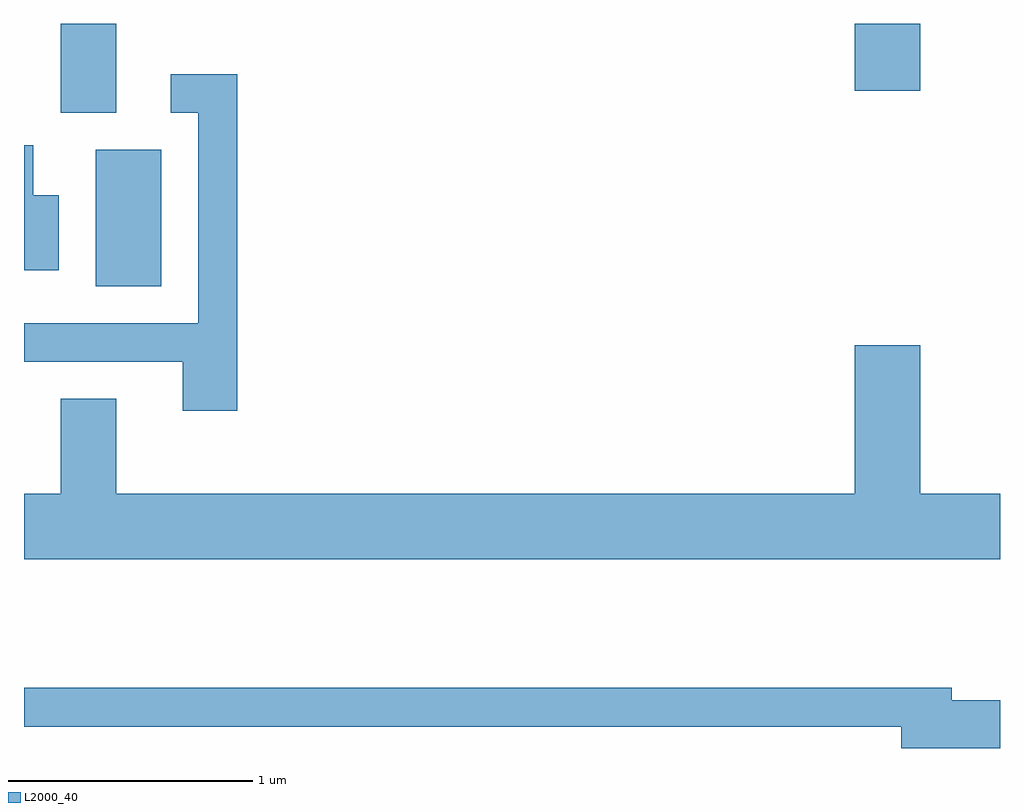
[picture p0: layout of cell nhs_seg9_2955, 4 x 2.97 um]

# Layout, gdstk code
import gdstk
lib = gdstk.Library(unit=1e-6, precision=1e-09)
def R(c, l, rs):  # rectangles x0, y0, x1, y1
    for r in rs: c.add(gdstk.rectangle(r[:2], r[2:], *l))
def P(c, l, *ps):  # polygons
    for p in ps: c.add(gdstk.Polygon(p, *l))
L2000_40 = (2000, 40)

nhs_seg9_2955 = lib.new_cell('nhs_seg9_2955')
R(nhs_seg9_2955, L2000_40, [(271.906,2017.356,272.174,2017.914), (271.761,2018.066,271.989,2018.432), (275.016,2018.156,275.284,2018.432)])
P(nhs_seg9_2955, L2000_40, [(272.484,2018.224),(272.213,2018.224),(272.213,2018.066),(272.326,2018.066),(272.326,2017.204),(271.611,2017.204),(271.611,2017.046),(272.261,2017.046),(272.261,2016.846),(272.484,2016.846)],
  [(271.754,2017.729),(271.649,2017.729),(271.649,2017.934),(271.611,2017.934),(271.611,2017.421),(271.754,2017.421)],
  [(275.611,2016.504),(275.284,2016.504),(275.284,2017.114),(275.016,2017.114),(275.016,2016.504),(271.989,2016.504),(271.989,2016.894),(271.761,2016.894),(271.761,2016.504),(271.611,2016.504),(271.611,2016.236),(275.611,2016.236)],
  [(275.611,2015.659),(275.414,2015.659),(275.414,2015.709),(271.611,2015.709),(271.611,2015.551),(275.206,2015.551),(275.206,2015.461),(275.611,2015.461)])

lib.write_gds('nhs_seg9_2955.gds')
